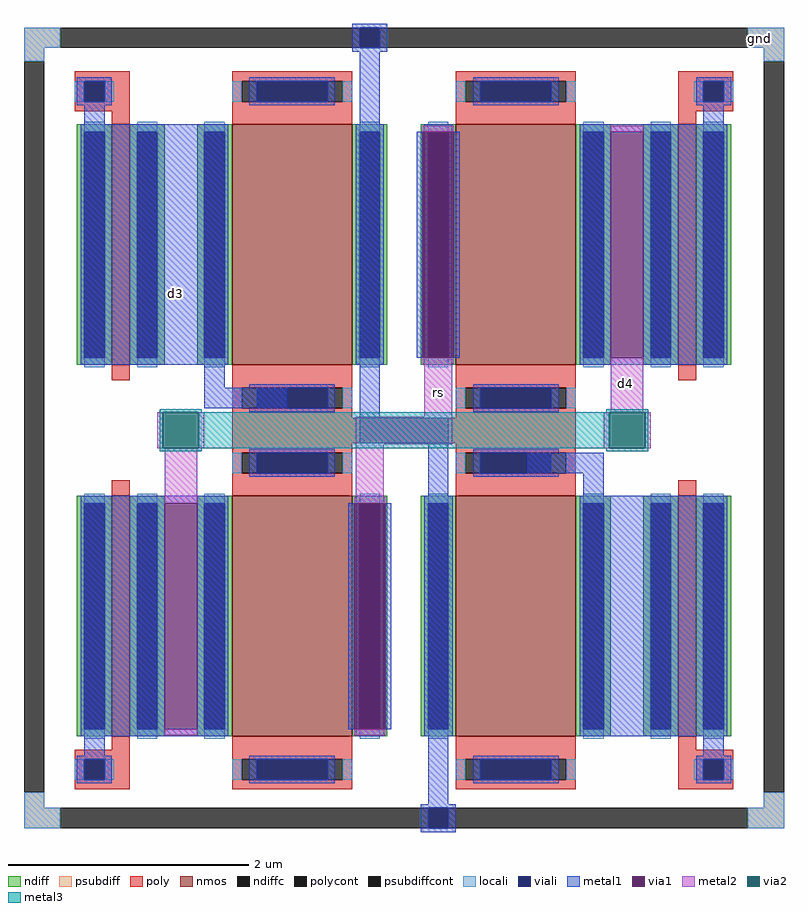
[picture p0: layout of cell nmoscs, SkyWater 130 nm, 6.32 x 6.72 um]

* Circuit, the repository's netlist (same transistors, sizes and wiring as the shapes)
** sch_path: /home/alex/mbkmpolytron/opamp1/mag/nmoscs.sch
.subckt nmoscs D3 D4 RS GND
*.PININFO RS:B D3:B D4:B GND:B
XM4 D4 D3 RS GND sky130_fd_pr__nfet_01v8 L=1 W=2 nf=1 m=2
XM3 D3 D3 GND GND sky130_fd_pr__nfet_01v8 L=1 W=2 nf=1 m=2
XM1 D3 D3 D3 GND sky130_fd_pr__nfet_01v8 L=0.15 W=2 nf=1 m=2
XM2 D4 D4 D4 GND sky130_fd_pr__nfet_01v8 L=0.15 W=2 nf=1 m=2
.ends
.end

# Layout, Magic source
magic
tech sky130A
magscale 1 2
<< psubdiff >>
rect -288 1233 -228 1267
rect 916 1233 976 1267
rect -288 1211 -254 1233
rect 942 1211 976 1233
rect -288 -31 -254 -5
rect 942 -31 976 -5
rect -288 -65 -228 -31
rect 916 -65 976 -31
<< psubdiffcont >>
rect -228 1233 916 1267
rect -288 -5 -254 1211
rect 942 -5 976 1211
rect -228 -65 916 -31
<< poly >>
rect -204 1178 -112 1194
rect -204 1144 -188 1178
rect -154 1144 -112 1178
rect -204 1128 -112 1144
rect -142 1114 -112 1128
rect 800 1178 892 1194
rect 800 1144 842 1178
rect 876 1144 892 1178
rect 800 1128 892 1144
rect 800 1114 830 1128
rect 58 576 630 618
rect -142 66 -112 80
rect -204 50 -112 66
rect -204 16 -188 50
rect -154 16 -112 50
rect -204 0 -112 16
rect 800 66 830 80
rect 800 50 892 66
rect 800 16 842 50
rect 876 16 892 50
rect 800 0 892 16
<< polycont >>
rect -188 1144 -154 1178
rect 842 1144 876 1178
rect -188 16 -154 50
rect 842 16 876 50
<< locali >>
rect -288 1233 -228 1267
rect 916 1233 976 1267
rect -288 1211 -254 1233
rect 942 1211 976 1233
rect -204 1144 -188 1178
rect -154 1144 -138 1178
rect 826 1144 842 1178
rect 876 1144 892 1178
rect -204 16 -188 50
rect -154 16 -138 50
rect 826 16 842 50
rect 876 16 892 50
rect -288 -31 -254 -5
rect 942 -31 976 -5
rect -288 -65 -228 -31
rect 916 -65 976 -31
<< viali >>
rect 270 1233 304 1267
rect -188 1144 -154 1178
rect 842 1144 876 1178
rect -188 16 -154 50
rect 842 16 876 50
rect 384 -65 418 -31
<< metal1 >>
rect 258 1267 316 1273
rect 258 1233 270 1267
rect 304 1233 316 1267
rect 258 1227 316 1233
rect -200 1178 -142 1184
rect -200 1144 -188 1178
rect -154 1144 -142 1178
rect -200 1138 -142 1144
rect -188 1106 -154 1138
rect 270 1106 304 1227
rect 830 1178 888 1184
rect 830 1144 842 1178
rect 876 1144 888 1178
rect 830 1138 888 1144
rect 842 1106 876 1138
rect -194 706 52 1106
rect 264 706 310 1106
rect 378 1094 424 1106
rect 636 1094 882 1106
rect 365 718 375 1094
rect 427 718 437 1094
rect 636 718 688 1094
rect 742 718 882 1094
rect 378 706 424 718
rect 636 706 882 718
rect 12 668 46 706
rect 12 634 150 668
rect 270 618 304 706
rect 270 576 418 618
rect 384 488 418 576
rect 549 526 676 560
rect 642 488 676 526
rect -194 476 52 488
rect 265 476 310 488
rect -194 100 -54 476
rect 0 100 52 476
rect 251 100 261 476
rect 313 100 323 476
rect -194 88 52 100
rect 265 88 310 100
rect 378 88 425 488
rect 636 88 882 488
rect -188 56 -154 88
rect -200 50 -142 56
rect -200 16 -188 50
rect -154 16 -142 50
rect -200 10 -142 16
rect 384 -25 418 88
rect 842 56 876 88
rect 830 50 888 56
rect 830 16 842 50
rect 876 16 888 50
rect 830 10 888 16
rect 372 -31 430 -25
rect 372 -65 384 -31
rect 418 -65 430 -31
rect 372 -71 430 -65
<< via1 >>
rect 375 718 427 1094
rect 688 718 742 1094
rect -54 100 0 476
rect 261 100 313 476
<< metal2 >>
rect 375 1094 427 1104
rect 375 708 427 718
rect 688 1094 742 1104
rect -66 567 -57 627
rect 3 567 12 627
rect 378 620 424 708
rect 688 627 742 718
rect 264 574 424 620
rect -54 476 0 567
rect 264 486 310 574
rect 676 567 685 627
rect 745 567 754 627
rect -54 90 0 100
rect 261 476 313 486
rect 261 90 313 100
<< via2 >>
rect -57 567 3 627
rect 685 567 745 627
<< metal3 >>
rect -62 627 8 632
rect 680 627 750 632
rect -62 567 -57 627
rect 3 567 685 627
rect 745 567 750 627
rect -62 562 8 567
rect 680 562 750 567
use sky130_fd_pr__nfet_01v8_46AA6M  sky130_fd_pr__nfet_01v8_46AA6M_0
transform 1 0 344 0 1 597
box -344 -597 344 597
use sky130_fd_pr__nfet_01v8_TC9PLT  sky130_fd_pr__nfet_01v8_TC9PLT_0
transform 1 0 -127 0 1 288
box -73 -226 73 226
use sky130_fd_pr__nfet_01v8_TC9PLT  sky130_fd_pr__nfet_01v8_TC9PLT_1
transform 1 0 815 0 1 906
box -73 -226 73 226
use sky130_fd_pr__nfet_01v8_TC9PLT  sky130_fd_pr__nfet_01v8_TC9PLT_2
transform 1 0 815 0 1 288
box -73 -226 73 226
use sky130_fd_pr__nfet_01v8_TC9PLT  sky130_fd_pr__nfet_01v8_TC9PLT_3
transform 1 0 -127 0 1 906
box -73 -226 73 226
<< labels >>
flabel locali 929 1243 943 1254 0 FreeSans 480 0 0 0 gnd
port 0 nsew
flabel metal1 -43 819 -29 830 0 FreeSans 480 0 0 0 d3
port 1 nsew
flabel metal2 705 670 719 681 0 FreeSans 480 0 0 0 d4
port 2 nsew
flabel metal2 394 654 408 665 0 FreeSans 480 0 0 0 rs
port 3 nsew
<< end >>

# cell sky130_fd_pr__nfet_01v8_46AA6M: kit device sky130_fd_pr__nfet_01v8, w 2 l 1 m 2 nf 2 diffcov 100 polycov 100 guard 0 glc 1 grc 1 gtc 1 gbc 1 tbcov 100 rlcov 100 topc 1 botc 1 poverlap 0 doverlap 0 lmin 0.15 wmin 0.42 compatible {sky130_fd_pr__nfet_01v8 sky130_fd_pr__nfet_01v8_lvt sky130_fd_bs_flash__special_sonosfet_star sky130_fd_pr__nfet_g5v0d10v5 sky130_fd_pr__nfet_05v0_nvt sky130_fd_pr__nfet_03v3_nvt} full_metal 1 viasrc 100 viadrn 100 viagate 70 viagb 0 viagr 0 viagl 0 viagt 0

# cell sky130_fd_pr__nfet_01v8_TC9PLT: kit device sky130_fd_pr__nfet_01v8, w 2 l 0.150 m 1 nf 1 diffcov 100 polycov 100 guard 0 glc 1 grc 1 gtc 1 gbc 1 tbcov 100 rlcov 100 topc 0 botc 0 poverlap 0 doverlap 1 lmin 0.15 wmin 0.42 compatible {sky130_fd_pr__nfet_01v8 sky130_fd_pr__nfet_01v8_lvt sky130_fd_bs_flash__special_sonosfet_star sky130_fd_pr__nfet_g5v0d10v5 sky130_fd_pr__nfet_05v0_nvt sky130_fd_pr__nfet_03v3_nvt} full_metal 1 viasrc 100 viadrn 100 viagate 100 viagb 0 viagr 0 viagl 0 viagt 0
